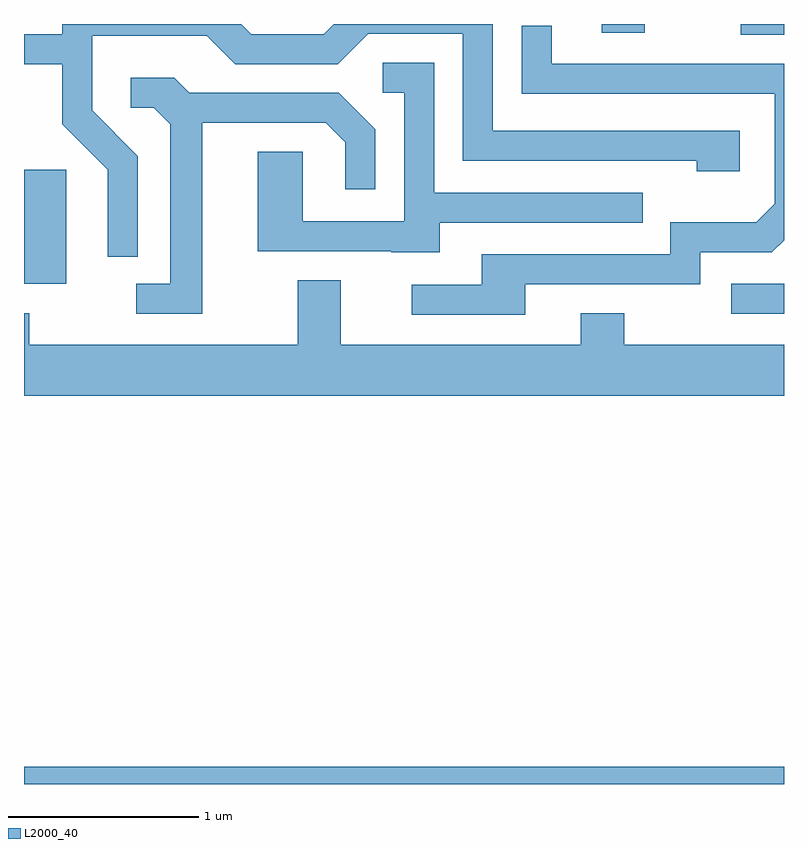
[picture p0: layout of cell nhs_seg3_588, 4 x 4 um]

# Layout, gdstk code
import gdstk
lib = gdstk.Library(unit=1e-6, precision=1e-09)
def R(c, l, rs):  # rectangles x0, y0, x1, y1
    for r in rs: c.add(gdstk.rectangle(r[:2], r[2:], *l))
def P(c, l, *ps):  # polygons
    for p in ps: c.add(gdstk.Polygon(p, *l))
L2000_40 = (2000, 40)

nhs_seg3_588 = lib.new_cell('nhs_seg3_588')
R(nhs_seg3_588, L2000_40, [(201.611,1203.892,205.611,1203.984), (205.333,1206.366,205.611,1206.524), (201.611,1206.526,201.834,1207.124), (205.383,1207.836,205.611,1207.892), (204.651,1207.846,204.879,1207.892)])
P(nhs_seg3_588, L2000_40, [(202.209,1207.197),(201.969,1207.437),(201.969,1207.831),(202.574,1207.831),(202.724,1207.681),(203.262,1207.681),(203.422,1207.841),(203.921,1207.841),(203.921,1207.171),(205.151,1207.171),(205.151,1207.116),(205.379,1207.116),(205.379,1207.329),(204.079,1207.329),(204.079,1207.892),(203.242,1207.892),(203.189,1207.839),(202.807,1207.839),(202.754,1207.892),(201.811,1207.892),(201.811,1207.839),(201.611,1207.839),(201.611,1207.681),(201.811,1207.681),(201.811,1207.364),(202.051,1207.124),(202.051,1206.668),(202.209,1206.668)],
  [(204.249,1206.521),(205.169,1206.521),(205.169,1206.691),(205.547,1206.691),(205.611,1206.755),(205.611,1207.684),(204.389,1207.684),(204.389,1207.883),(204.231,1207.883),(204.231,1207.526),(205.561,1207.526),(205.561,1206.947),(205.464,1206.849),(205.011,1206.849),(205.011,1206.679),(204.021,1206.679),(204.021,1206.519),(203.653,1206.519),(203.653,1206.361),(204.249,1206.361)],
  [(203.799,1206.846),(204.868,1206.846),(204.868,1207.004),(203.769,1207.004),(203.769,1207.689),(203.498,1207.689),(203.498,1207.531),(203.611,1207.531),(203.611,1206.854),(203.079,1206.854),(203.079,1207.219),(202.841,1207.219),(202.841,1206.696),(203.545,1206.696),(203.545,1206.691),(203.799,1206.691)],
  [(202.549,1207.371),(203.199,1207.371),(203.301,1207.269),(203.301,1207.023),(203.459,1207.023),(203.459,1207.337),(203.267,1207.529),(202.482,1207.529),(202.402,1207.609),(202.173,1207.609),(202.173,1207.451),(202.294,1207.451),(202.381,1207.364),(202.381,1206.524),(202.203,1206.524),(202.203,1206.366),(202.549,1206.366)],
  [(205.611,1206.204),(204.769,1206.204),(204.769,1206.369),(204.541,1206.369),(204.541,1206.204),(203.279,1206.204),(203.279,1206.544),(203.051,1206.544),(203.051,1206.204),(201.639,1206.204),(201.639,1206.369),(201.611,1206.369),(201.611,1205.936),(205.611,1205.936)])

lib.write_gds('nhs_seg3_588.gds')
